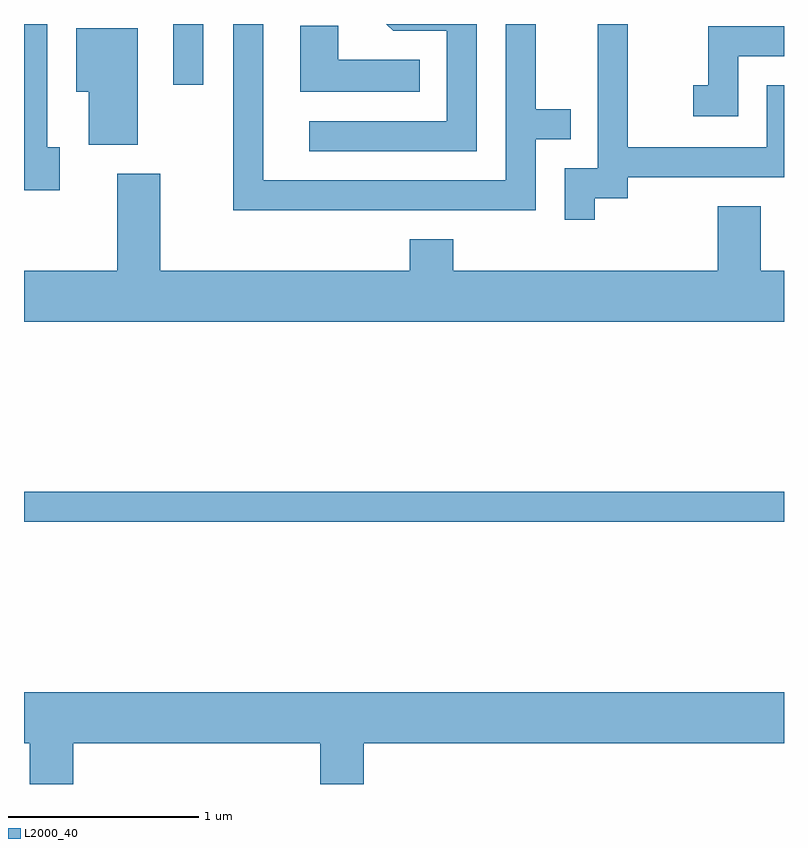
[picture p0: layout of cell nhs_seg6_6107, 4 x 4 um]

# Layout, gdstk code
import gdstk
lib = gdstk.Library(unit=1e-6, precision=1e-09)
def R(c, l, rs):  # rectangles x0, y0, x1, y1
    for r in rs: c.add(gdstk.rectangle(r[:2], r[2:], *l))
def P(c, l, *ps):  # polygons
    for p in ps: c.add(gdstk.Polygon(p, *l))
L2000_40 = (2000, 40)

nhs_seg6_6107 = lib.new_cell('nhs_seg6_6107')
R(nhs_seg6_6107, L2000_40, [(369.611,1655.541,373.611,1655.699), (370.396,1657.843,370.554,1658.162)])
P(nhs_seg6_6107, L2000_40, [(372.304,1657.556),(372.488,1657.556),(372.488,1657.714),(372.304,1657.714),(372.304,1658.162),(372.146,1658.162),(372.146,1657.339),(370.869,1657.339),(370.869,1658.162),(370.711,1658.162),(370.711,1657.181),(372.304,1657.181)],
  [(372.614,1657.246),(372.789,1657.246),(372.789,1657.356),(373.611,1657.356),(373.611,1657.839),(373.521,1657.839),(373.521,1657.514),(372.789,1657.514),(372.789,1658.162),(372.631,1658.162),(372.631,1657.404),(372.456,1657.404),(372.456,1657.133),(372.614,1657.133)],
  [(369.799,1657.514),(369.734,1657.514),(369.734,1658.162),(369.611,1658.162),(369.611,1657.286),(369.799,1657.286)],
  [(371.994,1658.162),(371.518,1658.162),(371.554,1658.126),(371.836,1658.126),(371.836,1657.649),(371.113,1657.649),(371.113,1657.491),(371.994,1657.491)],
  [(371.693,1657.974),(371.264,1657.974),(371.264,1658.154),(371.066,1658.154),(371.066,1657.806),(371.693,1657.806)],
  [(373.369,1657.991),(373.611,1657.991),(373.611,1658.149),(373.211,1658.149),(373.211,1657.839),(373.133,1657.839),(373.133,1657.676),(373.369,1657.676)],
  [(370.209,1658.139),(369.886,1658.139),(369.886,1657.806),(369.951,1657.806),(369.951,1657.526),(370.209,1657.526)],
  [(373.611,1656.864),(373.489,1656.864),(373.489,1657.204),(373.261,1657.204),(373.261,1656.864),(371.869,1656.864),(371.869,1657.029),(371.641,1657.029),(371.641,1656.864),(370.329,1656.864),(370.329,1657.374),(370.101,1657.374),(370.101,1656.864),(369.611,1656.864),(369.611,1656.596),(373.611,1656.596)],
  [(369.869,1654.376),(371.171,1654.376),(371.171,1654.162),(371.399,1654.162),(371.399,1654.376),(373.611,1654.376),(373.611,1654.644),(369.611,1654.644),(369.611,1654.376),(369.641,1654.376),(369.641,1654.162),(369.869,1654.162)])

lib.write_gds('nhs_seg6_6107.gds')
